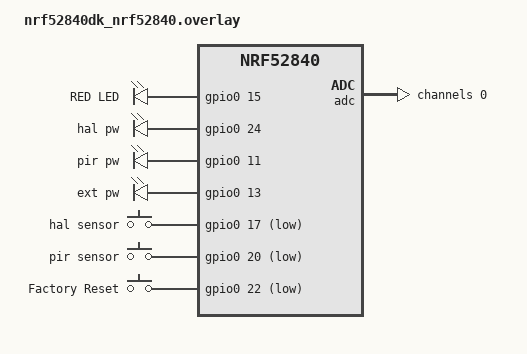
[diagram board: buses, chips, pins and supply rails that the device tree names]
/*
 * Copyright (c) 2025 Nordic Semiconductor ASA
 *
 * SPDX-License-Identifier: LicenseRef-Nordic-5-Clause
 */

#include <samples/matter/nrf52840_partitions.dtsi>

/ {
	chosen {
		zephyr,code-partition = &boot_partition;
		//nordic,pm-ext-flash = &mx25r64;
	};

leds {

		led0: led_0 {
			gpios = <&gpio0 15 GPIO_ACTIVE_HIGH>;
			label = "RED LED";
		};
		led1: led_1 {
			gpios = <&gpio0 24 GPIO_ACTIVE_HIGH>;
			label = "hal pw";
		};
		led2: led_2 {
			gpios = <&gpio0 11 GPIO_ACTIVE_HIGH>;
			label = "pir pw";
		};
		led3: led_3 {
			gpios = <&gpio0 13 GPIO_ACTIVE_HIGH>;
			label = "ext pw";
		};


	};

	/* 2. Cấu hình lại Buttons */
	buttons {
		compatible = "gpio-keys";

		button0: button_0 {
			gpios = <&gpio0 17 (GPIO_ACTIVE_LOW | GPIO_PULL_UP)>;
			label = "hal sensor";
			zephyr,code = <17>;
		};
		button1: button_1 {
			gpios = <&gpio0 20 (GPIO_ACTIVE_LOW | GPIO_PULL_UP)>;
			label = "pir sensor";
			zephyr,code = <20>;
		};
		button2: button_2 {
			gpios = <&gpio0 22 (GPIO_ACTIVE_LOW | GPIO_PULL_UP)>;
			label = "Factory Reset";
			zephyr,code = <22>;
		};

		/delete-node/ button_3;
    	};
    	aliases {

		// /delete-property/ led0;
		/delete-property/ led1;
		/delete-property/ led2;
		/delete-property/ led3;

		/delete-property/ pwm-led0;
		/delete-property/ mcuboot-button0;
		/delete-property/ mcuboot-led0;
		/delete-property/ sw0;
		/delete-property/ sw1;
		/delete-property/ sw2;
		/delete-property/ sw3;
	};
};
/delete-node/ &pwm_led0;
// &uicr {
//     /delete-property/ gpio-as-nreset;
// };
// &gpregret1 {
// 	//status = "disabled";
// 	/delete-node/ boot_mode@0;
// };
// &gpregret2 {
//     compatible = "nordic,nrf-gpregret";
//     reg = <0x40000520 0x1>;
//     status = "okay";
//     boot_mode0: boot_mode@0 {
//         compatible = "zephyr,retention";
//         reg = <0x0 0x1>;
//         status = "okay";
//     };
// };
&mx25r64 {
	status = "disabled";
};

//disable external flash
&qspi {
    status = "disabled";
    /delete-node/ mx25r6435f@0;
};


&adc {
    status = "okay";
    #address-cells = <1>;
    #size-cells = <0>;
    channel@0 {
        reg = <0>;
        zephyr,gain = "ADC_GAIN_1_6";
        zephyr,reference = "ADC_REF_INTERNAL";
        zephyr,acquisition-time = <ADC_ACQ_TIME_DEFAULT>;
        zephyr,input-positive = <NRF_SAADC_VDDHDIV5>;
        zephyr,resolution = <12>;
    };
};

/delete-node/ &boot_partition;
/delete-node/ &slot0_partition;
/delete-node/ &factory_data_partition;
/delete-node/ &storage_partition;
&flash0 {
    partitions {
        compatible = "fixed-partitions";
        #address-cells = <1>;
        #size-cells = <1>;
		boot_partition: partition@1000 {
        	compatible = "zephyr,mapped-partition";
        	label = "mcuboot";
       		reg = <0x00001000 DT_SIZE_K(28)>;
    	};

    	slot0_partition: partition@8000 {
        	compatible = "zephyr,mapped-partition";
        	label = "image-0";
        	reg = <0x00008000 DT_SIZE_K(896)>;
    	};
		// boot_partition: partition@26000 {
        //     compatible = "zephyr,mapped-partition";
        //     label = "mcuboot";
        //     reg = <0x00026000 DT_SIZE_K(28)>;
        // };

        // slot0_partition: partition@2d000 {
        //     compatible = "zephyr,mapped-partition";
        //     label = "image-0";
        //     reg = <0x0002D000 DT_SIZE_K(748)>;
        // };
		slot1_partition: partition@e8000 {
			compatible = "zephyr,mapped-partition";
			label = "image-1";
			reg = <0x000e8000 DT_SIZE_K(4)>;
		};
		factory_data_partition: partition@e9000 {
			compatible = "zephyr,mapped-partition";
			label = "factory-data";
			reg = <0x000e9000 DT_SIZE_K(4)>;
		};
		storage_partition: partition@ea000 {
			compatible = "zephyr,mapped-partition";
			label = "storage";
			reg = <0x000ea000 DT_SIZE_K(40)>;
		};
    };
};
